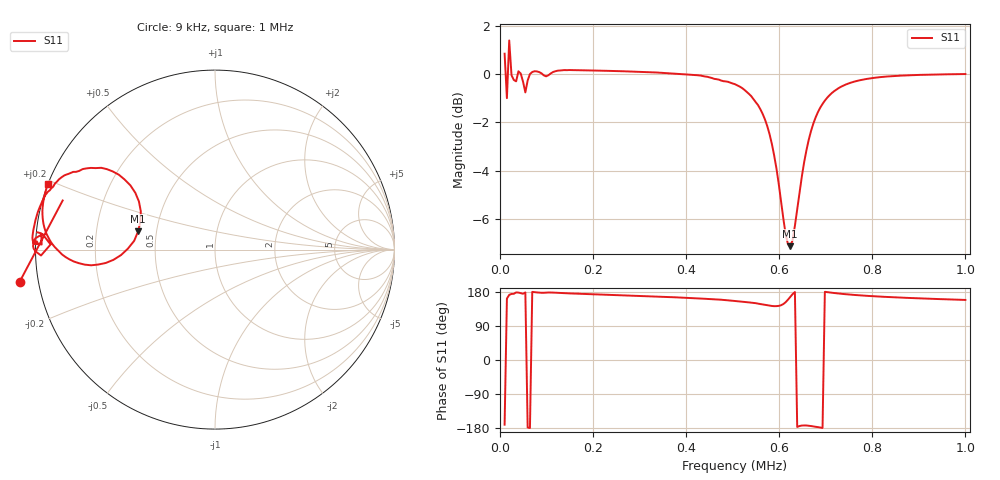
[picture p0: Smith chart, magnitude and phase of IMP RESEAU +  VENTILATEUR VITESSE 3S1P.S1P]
!Agilent Technologies,E5071C,MY46109397,A.09.54
!Date: Mon Jan 01 01:29:05 2001
!Data & Calibration Information:
!Freq	S11:SOLT1(ON)
# Hz S RI R 50
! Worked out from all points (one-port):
!   201 points, 9 kHz to 1 MHz, reference 50 ohm
!   lowest |S11| = -7.1 dB at 623.4 kHz (marker M1), VSWR 2.57, Z = 19.7 + j4.93 ohm
!   |S11| at or under -10 dB: nowhere
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9000  -1.088 -0.1782
13955  -0.8488 0.2734
18910  -1.162 0.1678
23865  -0.9899 0.0964
28820  -0.9681 0.0906
33775  -0.9657 0.0282
38730  -1.013 0.0372
43685  -1.001 0.0635
48640  -0.9605 0.0865
53595  -0.916 0.0284
58550  -0.9693 -0.0327
68460  -1.01 0.00483
132875  -1.016 0.0599
256750  -1.002 0.1588
380625  -0.9678 0.2562
504500  -0.8684 0.3924
549095  -0.757 0.4383
578825  -0.6024 0.4482
598645  -0.4713 0.3578
613510  -0.4134 0.2138
623420  -0.4285 0.1011
628375  -0.4504 0.0488
653150  -0.6511 -0.0833
682880  -0.8333 -0.0409
712610  -0.9125 0.0396
752250  -0.951 0.124
876125  -0.9551 0.276
1000000  -0.9307 0.3665
